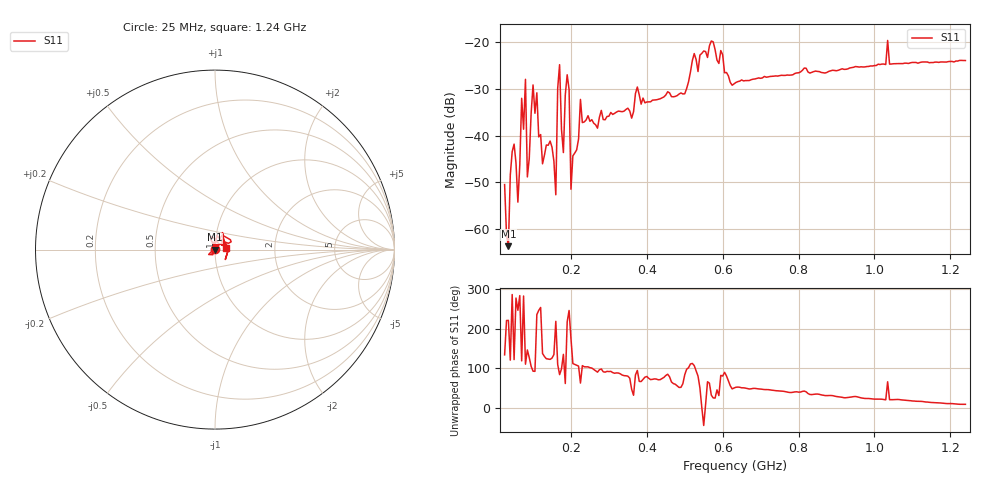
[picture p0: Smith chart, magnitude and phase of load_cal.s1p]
!Created with skrf (http://scikit-rf.org).
# Hz S RI R 50.0
!freq ReS11 ImS11
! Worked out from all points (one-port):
!   244 points, 25 MHz to 1.24 GHz, reference 50 ohm
!   lowest |S11| = -63.6 dB at 35 MHz (marker M1), VSWR 1.00, Z = 50 - j0.0436 ohm
!   |S11| at or under -10 dB: start of sweep to end of sweep
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2.5e7  -0.0021 0.00214
3.5e7  -0.000496 -0.000437
4.5e7  0.00192 -0.00647
6e7  -0.000766 -0.00179
7e7  -0.0121 0.0218
7.5e7  0.0026 -0.0114
8e7  -0.0141 0.0372
8.5e7  -0.00302 0.00199
1e8  -0.00188 0.0346
1.25e8  -0.0037 0.00336
1.45e8  -0.00475 0.00734
1.6e8  -0.00182 -0.00147
1.65e8  -0.0109 0.0302
1.7e8  0.00554 0.0567
1.8e8  -0.00471 0.00461
1.9e8  -0.0352 -0.0272
1.95e8  -0.0124 -0.0284
2e8  -0.00266 0.00024
2.25e8  0.011 0.0217
3.3e8  0.00111 0.0181
4.85e8  0.017 0.0219
5.7e8  0.0858 0.0551
6.35e8  0.0224 0.0293
7.85e8  0.0342 0.0285
9.4e8  0.0468 0.0249
1.035e9  0.0413 0.0947
1.09e9  0.0556 0.0192
1.24e9  0.0622 0.0104
